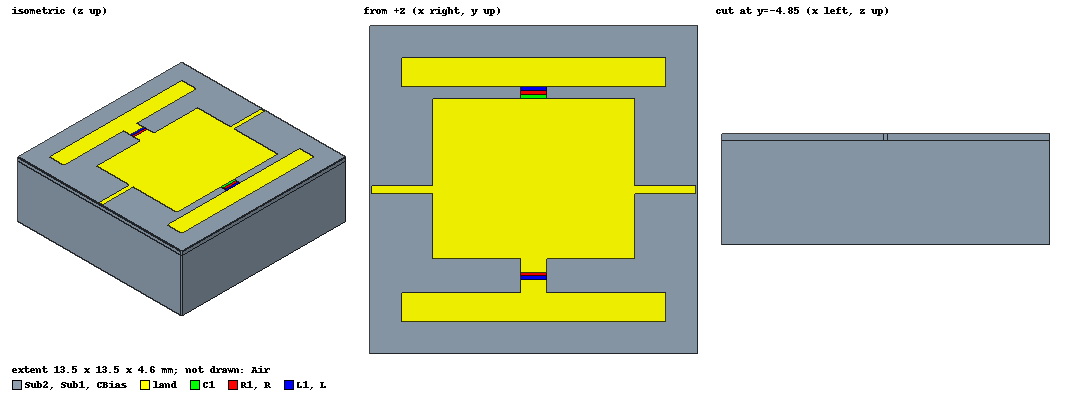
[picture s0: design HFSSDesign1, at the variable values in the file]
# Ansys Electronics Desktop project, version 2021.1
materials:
  vacuum: permittivity=1
  air: permittivity=1.0006 permeability=1.0000004
  Arlon AD320A (tm): permittivity=3.2 dielectric_loss_tangent=0.0032
  Rogers RT/duroid 5880 (tm): permittivity=2.2 dielectric_loss_tangent=0.0009
  pec: conductivity=1e+30
  FR4_epoxy: permittivity=4.4 dielectric_loss_tangent=0.02
  F4B: permittivity=2.65 dielectric_loss_tangent=0.002

design HFSSDesign1 (HFSS, DrivenModal, model units mm)
options: Save_Adaptive_support_files
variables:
  p = 13.5mm  # 1
  h1 = 4.3mm  # 1
  h2 = 0.3mm  # 1
  l1 = 10.9mm
  l3 = 1.1mm
  l4 = 8.3mm
  w3 = 1.1mm
  w5 = 1.2mm  # 1
  w6 = 1.2mm  # 1
  rb = 0.1mm  # 1
  s = 0.3mm  # 1
  Long = 22mm  # 1
  phi_scan = 0deg  # 1
  theta_scan = 0deg  # 1
  wide = 0.15mm  # 1
  n = 1  # 1
  ds = 0.1mm  # 1
  next = 0.1mm
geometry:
  Sub2 [FR4_epoxy] = box(corner=(-p/2, -p/2, 0mm), size=(p, p, h1))
  GND = rectangle(corner=(-p/2, -p/2, 0), x_size=p, y_size=p)
  Sub1 [FR4_epoxy] = box(corner=(-p/2, -p/2, h1), size=(p, p, h2))
  left = rectangle(corner=(-l1/2, -l1/2, h1+h2), x_size=l1, y_size=w6)
  right = rectangle(corner=(-l1/2, l1/2-w6, h1+h2), x_size=l1, y_size=w6)
  CBias [pec] = cylinder(axis=Z, base_centre=(0, -l1/2+w6/2, h1), radius=rb, height=h2)
  CBias1 [pec] = cylinder(axis=Z, base_centre=(0, l1/2-w6/2, h1), radius=rb, height=h2)
  land = rectangle(corner=(-l4/2, -l1/2+w6+s+w3/2, h1+h2), x_size=l4, y_size=l1-w6*2-s-w3/2-s-next*2)
  land1 = rectangle(corner=(-l4/2, -l1/2+w5+s, h1+h2), x_size=(l4-l3)/2, y_size=w3)
  land2 = rectangle(corner=(l4/2-(l4-l3)/2, -l1/2+w5+s, h1+h2), x_size=(l4-l3)/2, y_size=w3)
  Air [vacuum] = box(corner=(-p/2, -p/2, -Long), size=(p, p, Long*2+h2+h1))
  line = rectangle(corner=(-p/2+wide/2, -wide, h1+h2), x_size=p-wide, y_size=wide*2)
  tu = rectangle(corner=(-l3/2, -l1/2+w6, h1+h2), x_size=l3, y_size=w3/2)
  CBias_1 = CBias.copy()
  CBias1_1 = CBias1.copy()
  Sub1.subtract(CBias_1, CBias1_1)
  [Sub2, GND, Sub1, CBias, CBias1, Air].scale(n, n, n)
  powercircle = circle(normal=Z, centre=(0mm, -l1/2+w6/2, h1), radius=rb+0.1mm)
  powerline = rectangle(corner=(-p/2+wide/2, -l1/2+w6/2-wide/2, h1), x_size=p-wide, y_size=wide)
  powerline1 = rectangle(corner=(-p/2+wide/2, -l1/2+w6/2-wide/2+wide*2+wide/2, h1), x_size=p-wide, y_size=wide)
  powerline2 = rectangle(corner=(-p/2+wide/2, -l1/2+w6/2-wide/2+wide*4+wide/2, h1), x_size=p-wide, y_size=wide)
  powerline3 = rectangle(corner=(-p/2+wide/2, -l1/2+w6/2-wide/2+wide*6+wide/2, h1), x_size=p-wide, y_size=wide)
  powerline4 = rectangle(corner=(-p/2+wide/2, -l1/2+w6/2-wide-wide*2, h1), x_size=p-wide, y_size=wide)
  powerline5 = rectangle(corner=(-p/2+wide/2, -l1/2+w6/2-wide-wide*4, h1), x_size=p-wide, y_size=wide)
  powerline6 = rectangle(corner=(-p/2+wide/2, -l1/2+w6/2-wide-wide*6, h1), x_size=p-wide, y_size=wide)
  powerline7 = rectangle(corner=(-p/2+wide/2, -l1/2+w6/2-wide-wide*8, h1), x_size=p-wide, y_size=wide)
  powercircle.unite(powerline, powerline1..powerline7)
  powercircle.scale(n, n, n)
  powercircle1 = circle(normal=Z, centre=(0mm, -l1/2+w6/2, h1), radius=rb+0.1mm)
  powerline8 = rectangle(corner=(-p/2+wide/2, -l1/2+w6/2-wide/2, h1), x_size=p-wide, y_size=wide)
  powerline9 = rectangle(corner=(-p/2+wide/2, -l1/2+w6/2-wide/2+wide*2+wide/2, h1), x_size=p-wide, y_size=wide)
  powerline10 = rectangle(corner=(-p/2+wide/2, -l1/2+w6/2-wide/2+wide*4+wide/2, h1), x_size=p-wide, y_size=wide)
  powerline11 = rectangle(corner=(-p/2+wide/2, -l1/2+w6/2-wide/2+wide*6+wide/2, h1), x_size=p-wide, y_size=wide)
  powerline12 = rectangle(corner=(-p/2+wide/2, -l1/2+w6/2-wide-wide*2, h1), x_size=p-wide, y_size=wide)
  powerline13 = rectangle(corner=(-p/2+wide/2, -l1/2+w6/2-wide-wide*4, h1), x_size=p-wide, y_size=wide)
  powerline14 = rectangle(corner=(-p/2+wide/2, -l1/2+w6/2-wide-wide*6, h1), x_size=p-wide, y_size=wide)
  powerline15 = rectangle(corner=(-p/2+wide/2, -l1/2+w6/2-wide-wide*8, h1), x_size=p-wide, y_size=wide)
  powercircle1.unite(powerline8..powerline15)
  powercircle1.rotate(axis=Z, angle=180deg)
  powercircle1.scale(n, n, n)
  land.subtract(land1, land2)
  land.unite(tu, left, line, right)
  R = rectangle(corner=(-l3/2, -l1/2+w6+s/2+w3/2, h1+h2), x_size=l3, y_size=s/2)
  R.scale(n, n, n)
  L = rectangle(corner=(-l3/2, -l1/2+w6+w3/2, h1+h2), x_size=l3, y_size=s/2)
  L.scale(n, n, n)
  R1 = rectangle(corner=(-l3/2, l1/2-w6-2*s/3-next-next/3, h1+h2), x_size=l3, y_size=s/3+2*next/3)
  R1.scale(n, n, n)
  L1 = rectangle(corner=(-l3/2, l1/2-w6-s/3-next+next/3, h1+h2), x_size=l3, y_size=s/3+2*next/3)
  L1.scale(n, n, n)
  C1 = rectangle(corner=(-l3/2, l1/2-w6-s-next*2, h1+h2), x_size=l3, y_size=s/3+2*next/3)
  C1.scale(n, n, n)
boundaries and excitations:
  PerfE1: Perfect E Objects=[GND, land]
  Master1: Primary Faces=Air.face(+x) CoordSysVector{Air.vertex(6 of 8) -> Air.vertex(5 of 8)} ReverseV
  Slave1: Secondary Faces=Air.face(-x) CoordSysVector{Air.vertex(7 of 8) -> Air.vertex(8 of 8)} primary=Master1 PhaseDelay=UseScanAngle Phi=phi_scan Theta=theta_scan
  Master2: Primary Faces=Air.face(-y) CoordSysVector{Air.vertex(6 of 8) -> Air.vertex(7 of 8)}
  Slave2: Secondary Faces=Air.face(+y) CoordSysVector{Air.vertex(5 of 8) -> Air.vertex(8 of 8)} ReverseV primary=Master2 PhaseDelay=UseScanAngle Phi=phi_scan Theta=theta_scan
  PerfE2: Perfect E Objects=[powercircle, powercircle1]
  LumpRLC1: Lumped RLC Objects=L CurrentLine{middle of L.edge(y at corner) -> middle of L.edge(y opposite corner)} RLC_Type=Parallel Inductance=0.7nH
  LumpRLC2: Lumped RLC Objects=R CurrentLine{middle of R.edge(y at corner) -> middle of R.edge(y opposite corner)} RLC_Type=Parallel Resistance=1ohm
  LumpRLC3: Lumped RLC Objects=L1 CurrentLine{middle of L1.edge(y opposite corner) -> middle of L1.edge(y at corner)} RLC_Type=Parallel Inductance=0.7nH
  LumpRLC4: Lumped RLC Objects=R1 CurrentLine{middle of R1.edge(y opposite corner) -> middle of R1.edge(y at corner)} RLC_Type=Parallel Resistance=10ohm
  LumpRLC6: Lumped RLC Objects=C1 CurrentLine{middle of C1.edge(y opposite corner) -> middle of C1.edge(y at corner)} RLC_Type=Parallel Capacitance=0.21pF
  FloquetPort1: Floquet Port Faces=Air.face(+z) NumModes=2 DeembedDist=Long*n Modes{Mode1{CharImp=Zpi} Mode2{CharImp=Zpi}} PhaseDelay=UseScanAngle Phi=phi_scan Theta=theta_scan LatticeAVector{Air.vertex(4 of 8) -> Air.vertex(1 of 8)} LatticeBVector{Air.vertex(4 of 8) -> Air.vertex(3 of 8)} ModesCalculator{Frequency=2.44GHz FrequencyChanged PhiStart=0deg PhiStop=0deg PhiStep=0deg ThetaStart=0deg ThetaStop=0deg ThetaStep=0deg} ModesList{Mode{ModeNumber=1 IndexM=0 IndexN=0 KC2=0 PropagationState=Propagating Attenuation=0 PolarizationState=TE AffectsRefinement} Mode{ModeNumber=2 IndexM=0 IndexN=0 KC2=0 PropagationState=Propagating Attenuation=0 PolarizationState=TM AffectsRefinement}}
  FloquetPort2: Floquet Port Faces=Air.face(-z) NumModes=2 DeembedDist=Long*n Modes{Mode1{CharImp=Zpi} Mode2{CharImp=Zpi}} PhaseDelay=UseScanAngle Phi=phi_scan Theta=theta_scan LatticeAVector{Air.vertex(7 of 8) -> Air.vertex(6 of 8)} LatticeBVector{Air.vertex(7 of 8) -> Air.vertex(8 of 8)} ModesCalculator{Frequency=2.44GHz FrequencyChanged PhiStart=0deg PhiStop=0deg PhiStep=0deg ThetaStart=0deg ThetaStop=0deg ThetaStep=0deg} ModesList{Mode{ModeNumber=1 IndexM=0 IndexN=0 KC2=0 PropagationState=Propagating Attenuation=0 PolarizationState=TE AffectsRefinement} Mode{ModeNumber=2 IndexM=0 IndexN=0 KC2=0 PropagationState=Propagating Attenuation=0 PolarizationState=TM AffectsRefinement}}
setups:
  Setup1: HfssDriven Frequency=3.5GHz MaxDeltaS=0.02 MaximumPasses=20 MinimumPasses=1 MinimumConvergedPasses=1 PercentRefinement=30 BasisOrder=1 PortAccuracy=2
    sweep Sweep: 3GHz to 4GHz step 0.01GHz; Type=Interpolating InterpTolerance=0.5 InterpMaxSolns=250 InterpUsePortImped=false PassivityErrorTolerance=0.0001
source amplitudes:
  FloquetPort1:1: 1W 0deg
  FloquetPort1:2, FloquetPort2:1, FloquetPort2:2: 0W 0deg
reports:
  S Parameter Plot 1: dB(S(FloquetPort1:1,FloquetPort1:1)) vs Freq on Setup1 : Sweep; markers MX1 at x=1.3279649e+09, MX2 at x=4.4816984e+09
  S Parameter Plot 2: cang_deg(S(FloquetPort1:1,FloquetPort1:1)) vs Freq on Setup1 : Sweep; markers MX1 at x=3.5498771e+09, MX2 at x=3.44914e+09, MX3 at x=3.2963145e+09
